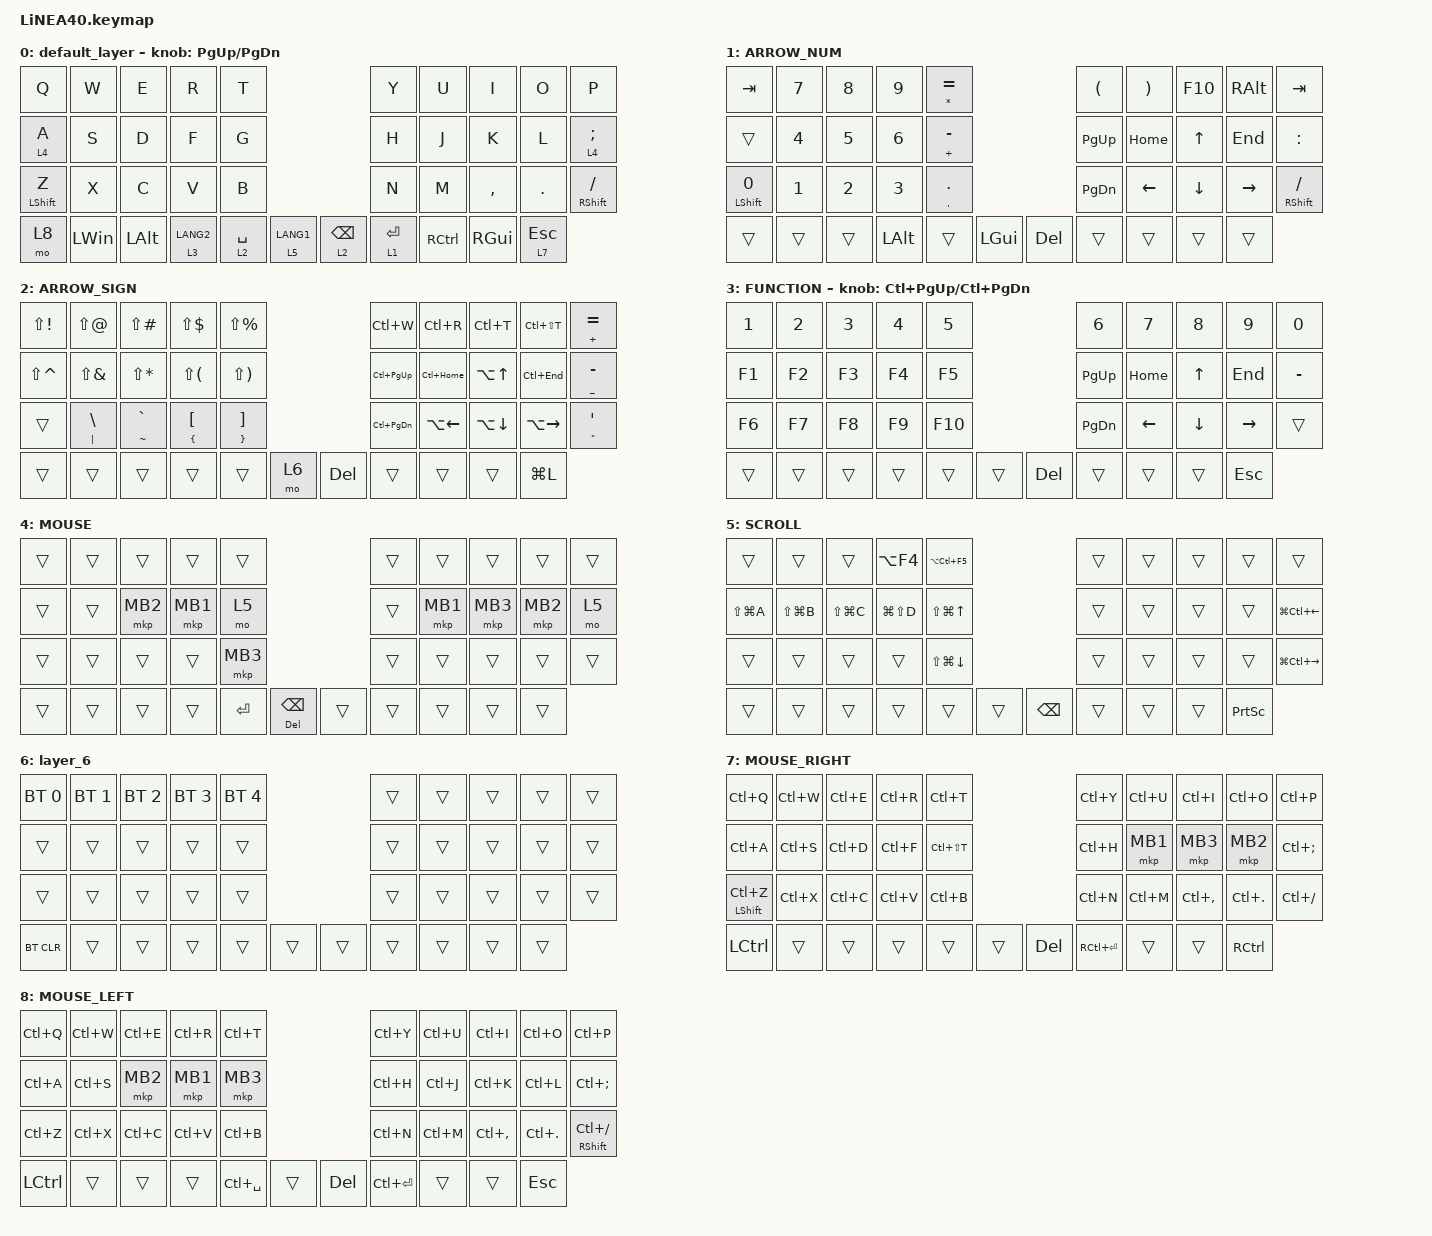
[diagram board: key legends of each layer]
#define ZMK_POINTING_DEFAULT_SCRL_VAL 150

// 移植元: LiNEA40.keymap（ベース設定保持）

#include <dt-bindings/zmk/input_transform.h>
#include <input/processors.dtsi>
#include <zephyr/dt-bindings/input/input-event-codes.h>
#include <behaviors.dtsi>
#include <dt-bindings/zmk/bt.h>
#include <dt-bindings/zmk/keys.h>
#include <dt-bindings/zmk/pointing.h>

// 移植元: Seaside39.keymap（レイヤー番号・名称に準拠）

#define MOUSE 4
#define SCROLL 5
#define NUM 6
#define FUNCTION 3

&mt {
    flavor = "hold-preferred";
    quick-tap-ms = <300>;
    tapping-term-ms = <200>;
};

&lt {
    flavor = "hold-preferred";
    quick-tap-ms = <300>;
    tapping-term-ms = <200>;
};

// トラックボール移動速度設定

&mmv {
    // センサー読取間隔 (ms)。少ないほど早い。

    delay-ms = <20>;
    trigger-period-ms = <5>;

    // 最大速度に達するまでの時間。少ないほど早く最大速度に達する

    time-to-max-speed-ms = <100>;
    acceleration-exponent = <2>;
};

// スクロール速度設定

&msc {
    delay-ms = <30>;
    trigger-period-ms = <3>;
    time-to-max-speed-ms = <200>;
    acceleration-exponent = <0>;
};

/ {
    input_processors {
        zip_wheel_scaler: zip_wheel_scaler {
            compatible = "zmk,input-processor-scaler";
            #input-processor-cells = <2>;
            type = <INPUT_EV_REL>;
            codes = <INPUT_REL_WHEEL>;
            track-remainders;
        };
    };
};

// &msc_input_listener {
//     speed_up {
//        layers = <FUNCTION>;
//        input-processors = <&zip_wheel_scaler 3 1>; //スクロールを3倍速にする
//    };
// };

&trackball_listener {
    scroller {
        layers = <SCROLL>;
        input-processors =
            <&zip_xy_transform INPUT_TRANSFORM_Y_INVERT>,
            <&zip_xy_to_scroll_mapper>;
    };
};

// 移植元: LiNEA40.keymap（動作・回転センサ挙動）

/ {
    behaviors {
        re_kp: sensor_rotate_kp {
            compatible = "zmk,behavior-sensor-rotate-var";
            #sensor-binding-cells = <2>;
            bindings = <&kp>, <&kp>;
        };

        mouse_scrl: mouse_wheel_scrl {
            compatible = "zmk,behavior-sensor-rotate-var";
            #sensor-binding-cells = <2>;
            bindings = <&msc>, <&msc>;

            tap-ms = <20>;
        };
    };
};

// 移植元: Seaside39.keymap（追加ビヘイビア・マクロ）

/ {
    macros {
        to_layer_0: to_layer_0 {
            compatible = "zmk,behavior-macro-one-param";
            #binding-cells = <1>;
            bindings = <&to 0 &macro_param_1to1 &kp MACRO_PLACEHOLDER>;
            label = "TO_LAYER_0";
        };
    };

    behaviors {
        lt_to_layer_0: lt_to_layer_0 {
            compatible = "zmk,behavior-hold-tap";
            label = "LAYER_TAP_TO_0";
            bindings = <&mo>, <&to_layer_0>;

            #binding-cells = <2>;
            flavor = "hold-preferred";
            quick-tap-ms = <300>;
            tapping-term-ms = <200>;
        };

        mt_balanced: mod_tap_balanced {
            compatible = "zmk,behavior-hold-tap";
            label = "MOD_TAP_BALANCED";
            #binding-cells = <2>;
            tapping-term-ms = <125>;
            flavor = "balanced";
            bindings = <&kp>, <&kp>;
        };

        td_z_shft: tap_dance {
            compatible = "zmk,behavior-tap-dance";
            #binding-cells = <0>;
            tapping-term-ms = <200>;
            bindings = <&kp Z>, <&kp LSHFT>;
        };

        lt_balanced: lt_balanced {
            compatible = "zmk,behavior-hold-tap";
            label = "LT_BALANCED";
            bindings = <&mo>, <&kp>;

            #binding-cells = <2>;
            tapping-term-ms = <200>;
            flavor = "tap-preferred";
            quick-tap-ms = <200>;
        };

        td_l7_esc: td_l7_esc {
            compatible = "zmk,behavior-tap-dance";
            label = "TD_L7_ESC";
            #binding-cells = <0>;
            bindings = <&mo 7>, <&kp ESC>;
        };
    };
};

// 移植元: LiNEA40 + Seaside39（コンボ統合）

/ {
    combos {
        compatible = "zmk,combos";

        // LiNEA40 由来

        PrevClick {
            bindings = <&mkp MB4>;
            key-positions = <27 26>;
        };

        ClickNext {
            bindings = <&mkp MB5>;
            key-positions = <28 27>;
        };

        // Seaside39 由来

        right_ctrl {
            bindings = <&kp RCTRL>;
            key-positions = <28 29>;
        };

        left_ctrl {
            bindings = <&kp LCTRL>;
            key-positions = <30 31>;
        };

        tab {
            bindings = <&kp TAB>;
            key-positions = <0 1>;
        };

        left_ctrl_shift {
            bindings = <&kp LS(LCTRL)>;
            key-positions = <20 21>;
        };

        scroll_rihgt {
            bindings = <&mo 5>;
            key-positions = <18 19>;
        };

        scroll_left {
            bindings = <&mo 5>;
            key-positions = <13 14>;
        };

        MB3_RIGHT {
            bindings = <&mkp MB3>;
            key-positions = <17 18>;
        };

        right_ctrl_shift {
            bindings = <&kp RC(RIGHT_SHIFT)>;
            key-positions = <40 39>;
        };

        ZenkakuHankaku {
            bindings = <&kp LANG_ZENKAKUHANKAKU>;
            key-positions = <10 34>;
        };
    };
};

// 移植元: Seaside39.keymap（レイヤーを LiNEA40 物理配置に合わせて移植）
// 1〜3段目: 5キー + 5キー。4段目: 左6キー + 中央2キー + 右3キー。A/B位置は &trans。

/ {
    keymap {
        compatible = "zmk,keymap";

        // 移植元: Seaside39 default_layer

        default_layer {
            bindings = <
&kp Q                      &kp W         &kp E         &kp R        &kp T                                                 &kp Y        &kp U  &kp I      &kp O          &kp P
&lt_balanced 4 A           &kp S         &kp D         &kp F        &kp G                                                 &kp H        &kp J  &kp K      &kp L          &lt_balanced 4 SEMICOLON
&mt_balanced LEFT_SHIFT Z  &kp X         &kp C         &kp V        &kp B                                                 &kp N        &kp M  &kp COMMA  &kp DOT        &mt_balanced RIGHT_SHIFT SLASH
&mo 8                      &kp LEFT_WIN  &kp LEFT_ALT  &lt 3 LANG2  &lt_balanced 2 SPACE  &lt 5 LANG1    &lt 2 BACKSPACE  &lt 1 ENTER         &kp RCTRL  &kp RIGHT_GUI  &lt 7 ESCAPE
            >;

            sensor-bindings = <&inc_dec_kp PG_UP PAGE_DOWN>;
        };

        // 移植元: Seaside39 ARROW_NUM

        ARROW_NUM {
            bindings = <
&kp TAB                     &kp N7  &kp N8        &kp N9        &mt ASTERISK EQUAL                              &kp LEFT_PARENTHESIS  &kp RIGHT_PARENTHESIS  &kp F10       &kp RIGHT_ALT  &kp TAB
&trans                      &kp N4  &kp N5        &kp N6        &mt PLUS MINUS                                  &kp PAGE_UP           &kp HOME               &kp UP_ARROW  &kp END        &kp COLON
&mt_balanced LEFT_SHIFT N0  &kp N1  &kp NUMBER_2  &kp NUMBER_3  &mt COMMA DOT                                   &kp PAGE_DOWN         &kp LEFT_ARROW         &kp DOWN      &kp RIGHT      &mt RIGHT_SHIFT SLASH
&trans                      &trans  &trans        &kp LEFT_ALT  &trans              &kp LEFT_GUI    &kp DELETE  &trans                                       &trans        &trans         &trans
            >;
        };

        // 移植元: Seaside39 ARROW_SIGN

        ARROW_SIGN {
            bindings = <
&kp LS(EXCL)   &kp LS(AT)          &kp LS(POUND)    &kp LS(DLLR)                 &kp LS(PRCNT)                                       &kp LC(W)          &kp LC(R)     &kp LC(T)         &kp LC(LS(T))  &mt PLUS EQUAL
&kp LS(CARET)  &kp LS(AMPS)        &kp LS(STAR)     &kp LS(LPAR)                 &kp LS(RPAR)                                        &kp LC(PAGE_UP)    &kp LC(HOME)  &kp LA(UP_ARROW)  &kp LC(END)    &mt UNDER MINUS
&trans         &mt PIPE BACKSLASH  &mt TILDE GRAVE  &mt LEFT_BRACE LEFT_BRACKET  &mt RIGHT_BRACE RIGHT_BRACKET                       &kp LC(PAGE_DOWN)  &kp LA(LEFT)  &kp LA(DOWN)      &kp LA(RIGHT)  &mt DOUBLE_QUOTES SINGLE_QUOTE
&trans         &trans              &trans           &trans                       &trans                         &mo 6    &kp DELETE  &trans                           &trans            &trans         &kp LG(L)
            >;
        };

        // 移植元: Seaside39 FUNCTION（レイヤー番号3）

        FUNCTION {
            bindings = <
&kp NUMBER_1  &kp NUMBER_2  &kp NUMBER_3  &kp NUMBER_4  &kp N5                         &kp NUMBER_6   &kp N7    &kp N8        &kp N9     &kp N0
&kp F1        &kp F2        &kp F3        &kp F4        &kp F5                         &kp PAGE_UP    &kp HOME  &kp UP_ARROW  &kp END    &kp MINUS
&kp F6        &kp F7        &kp F8        &kp F9        &kp F10                        &kp PAGE_DOWN  &kp LEFT  &kp DOWN      &kp RIGHT  &trans
&trans        &trans        &trans        &trans        &trans   &trans    &kp DELETE  &trans                   &trans        &trans     &kp ESCAPE
            >;

            sensor-bindings = <&inc_dec_kp LC(PAGE_UP) LC(PAGE_DOWN)>;
        };

        // 移植元: Seaside39 MOUSE（レイヤー番号4）

        MOUSE {
            bindings = <
&trans  &trans  &trans    &trans    &trans                                     &trans  &trans    &trans    &trans    &trans
&trans  &trans  &mkp MB2  &mkp MB1  &mo 5                                      &trans  &mkp MB1  &mkp MB3  &mkp MB2  &mo 5
&trans  &trans  &trans    &trans    &mkp MB3                                   &trans  &trans    &trans    &trans    &trans
&trans  &trans  &trans    &trans    &kp ENTER  &mt DELETE BACKSPACE    &trans  &trans            &trans    &trans    &trans
            >;
        };

        // 移植元: Seaside39 SCROLL（レイヤー番号5）

        SCROLL {
            bindings = <
&trans         &trans         &trans         &kp LA(F4)     &kp LA(LC(F5))                                 &trans  &trans  &trans  &trans  &trans
&kp LS(LG(A))  &kp LS(LG(B))  &kp LS(LG(C))  &kp LG(LS(D))  &kp LS(LG(UP_ARROW))                           &trans  &trans  &trans  &trans  &kp LG(LC(LEFT_ARROW))
&trans         &trans         &trans         &trans         &kp LS(LG(DOWN))                               &trans  &trans  &trans  &trans  &kp LG(LC(RIGHT))
&trans         &trans         &trans         &trans         &trans                &trans    &kp BACKSPACE  &trans          &trans  &trans  &kp PRINTSCREEN
            >;
        };

        // 移植元: Seaside39 layer_6（レイヤー番号6; Bluetooth）

        layer_6 {
            bindings = <
&bt BT_SEL 0  &bt BT_SEL 1  &bt BT_SEL 2  &bt BT_SEL 3  &bt BT_SEL 4                    &trans  &trans  &trans  &trans  &trans
&trans        &trans        &trans        &trans        &trans                          &trans  &trans  &trans  &trans  &trans
&trans        &trans        &trans        &trans        &trans                          &trans  &trans  &trans  &trans  &trans
&bt BT_CLR    &trans        &trans        &trans        &trans        &trans    &trans  &trans          &trans  &trans  &trans
            >;
        };

        // 移植元: Seaside39 MOUSE_RIGHT（レイヤー番号7）

        MOUSE_RIGHT {
            bindings = <
&kp LC(Q)             &kp LC(W)  &kp LC(E)  &kp LC(R)  &kp LC(T)                            &kp LC(Y)      &kp LC(U)  &kp LC(I)      &kp LC(O)    &kp LC(P)
&kp LC(A)             &kp LC(S)  &kp LC(D)  &kp LC(F)  &kp LC(LS(T))                        &kp LC(H)      &mkp MB1   &mkp MB3       &mkp MB2     &kp LC(SEMICOLON)
&mt LEFT_SHIFT LC(Z)  &kp LC(X)  &kp LC(C)  &kp LC(V)  &kp LC(B)                            &kp LC(N)      &kp LC(M)  &kp LC(COMMA)  &kp LC(DOT)  &kp LC(FSLH)
&kp LCTRL             &trans     &trans     &trans     &trans         &trans    &kp DELETE  &kp RC(ENTER)             &trans         &trans       &kp RCTRL
            >;
        };

        // 移植元: Seaside39 MOUSE_LEFT（レイヤー番号8）

        MOUSE_LEFT {
            bindings = <
&kp LC(Q)  &kp LC(W)  &kp LC(E)  &kp LC(R)  &kp LC(T)                            &kp LC(Y)      &kp LC(U)  &kp LC(I)      &kp LC(O)    &kp LC(P)
&kp LC(A)  &kp LC(S)  &mkp MB2   &mkp MB1   &mkp MB3                             &kp LC(H)      &kp LC(J)  &kp LC(K)      &kp LC(L)    &kp LC(SEMI)
&kp LC(Z)  &kp LC(X)  &kp LC(C)  &kp LC(V)  &kp LC(B)                            &kp LC(N)      &kp LC(M)  &kp LC(COMMA)  &kp LC(DOT)  &mt RIGHT_SHIFT LC(SLASH)
&kp LCTRL  &trans     &trans     &trans     &kp LC(SPACE)  &trans    &kp DELETE  &kp LC(ENTER)             &trans         &trans       &kp ESCAPE
            >;
        };
    };
};
